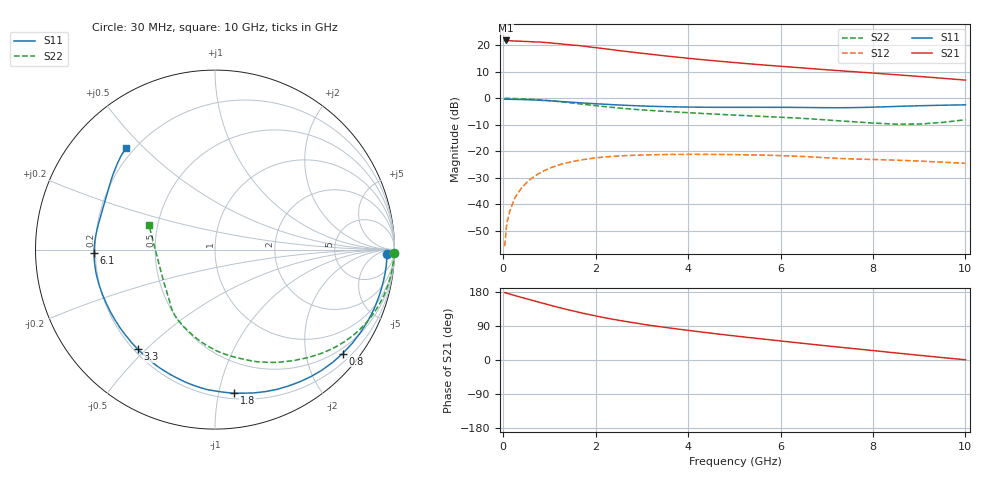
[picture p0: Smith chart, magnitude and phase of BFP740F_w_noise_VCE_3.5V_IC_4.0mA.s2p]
! Infineon Technologies  Discrete & RF Semiconductors
! BFP740F
! VCE =  3.5 V,  IC =  4.0 mA
! Common Emitter S-Parameters:  Oct 2012
# GHz  S  MA  R  50
!  f  S11  S21  S12  S22
! GHz  MAG  ANG  MAG  ANG  MAG  ANG  MAG  ANG
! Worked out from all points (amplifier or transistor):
!   99 points, 30 MHz to 10 GHz, reference 50 ohm
!   highest |S21| = 21.9 dB at 50 MHz (marker M1)
!   |S21| within 3 dB of that: start of sweep to 2.134 GHz
!   unconditionally stable (mu >= 1): 7.893 GHz to end of sweep
!   at 350 MHz: K = 0.04, MSG = 28.3 dB, |S12| = -35.0 dB
!   at 3.5 GHz: K = 0.30, MSG = 18.7 dB, |S12| = -21.3 dB
!   at 10 GHz: K = 1.27, MAG = 12.6 dB, |S12| = -24.6 dB
!   lowest NFmin = 0.36 dB at 450 MHz
!   S11 on the Smith chart (normalised r, x): 30 MHz: 35, -22; 800 MHz: 0.38, -2.76; 1.8 GHz: 0.24, -1.11; 3.3 GHz: 0.22, -0.47; 6.1 GHz: 0.19, -0.01; 10 GHz: 0.17, +0.44
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0.03  0.9597 -1.5  12.29 177.9  0.0016 81.4  0.9976 -1.0
0.05  0.9587 -2.4  12.4 177.5  0.0023 91.1  0.9972 -1.7
0.09  0.9579 -4.5  12.4 175.9  0.005 80.6  0.9968 -3.0
0.25  0.9529 -12.5  12.12 170.2  0.0129 82.7  0.9901 -8.3
0.5  0.9402 -24.6  11.86 161.8  0.0253 74.5  0.9712 -16.5
0.8  0.917 -39.2  11.58 151.6  0.039 65.4  0.9352 -26.0
1  0.8976 -48.5  11.2 145.1  0.0474 59.5  0.9035 -32.3
1.2  0.8745 -57.4  10.78 138.7  0.0547 53.9  0.8675 -38.3
1.6  0.8278 -74.7  10.01 126.9  0.0662 43.8  0.7935 -49.4
1.7  0.8159 -78.6  9.769 124.1  0.0685 41.4  0.7742 -52.0
1.8  0.8076 -82.3  9.517 121.5  0.0708 39.2  0.7588 -54.6
2.1  0.7805 -93.5  8.857 113.8  0.0763 32.7  0.7089 -62.5
2.5  0.7471 -106.1  7.98 104.8  0.0811 25.5  0.6559 -71.2
3  0.7165 -120.2  7.104 94.8  0.0847 17.9  0.6037 -80.7
3.3  0.7021 -127.7  6.638 89.4  0.0858 14.1  0.5796 -85.7
3.4  0.6985 -129.9  6.484 87.8  0.0862 12.8  0.5732 -87.2
4.2  0.6793 -146.7  5.486 75.2  0.0873 4.2  0.5234 -97.7
5.1  0.6753 -163.2  4.661 62.3  0.0857 -4.0  0.4761 -108.6
6.1  0.6744 -178.3  3.972 48.9  0.0818 -11.8  0.4336 -120.2
6.7  0.6675 172.2  3.621 41.2  0.0775 -15.8  0.4054 -126.9
8.5  0.7016 144.8  2.79 18.6  0.0676 -20.6  0.3242 -159.1
10  0.7529 131.2  2.207 0.6  0.0589 -23.8  0.393 159.4
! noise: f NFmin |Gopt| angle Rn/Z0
0.45  0.36  0.43  8  0.21
0.9  0.42  0.43  14  0.18
1.5  0.5  0.42  25  0.15
1.9  0.56  0.41  34  0.14
2.4  0.63  0.38  43  0.14
3.5  0.79  0.35  66  0.13
5.5  1.07  0.25  111  0.22
10  1.64  0.44  -130  0.08
